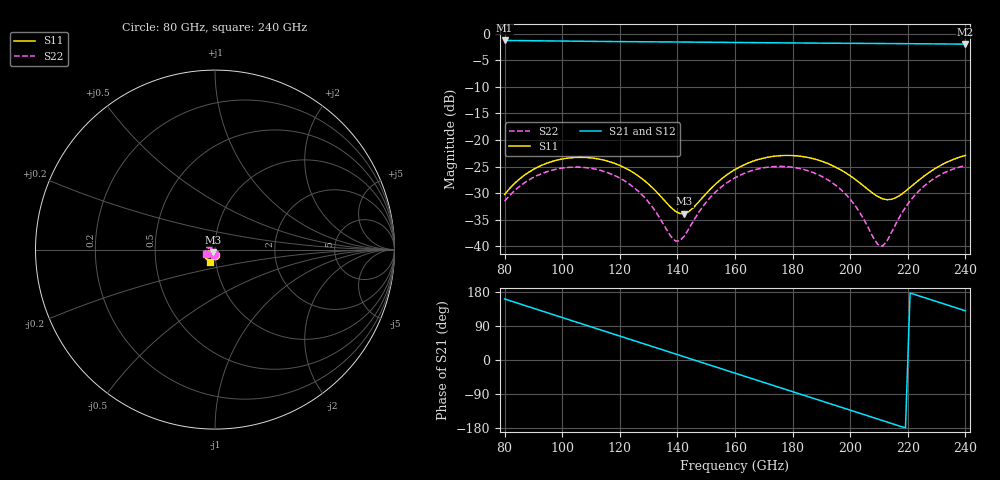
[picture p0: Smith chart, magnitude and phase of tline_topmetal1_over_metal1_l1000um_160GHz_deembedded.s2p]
! Created with skrf 2.0.1 (http://scikit-rf.org).
# GHz S DB R 50.0
!freq dBS11 angS11 dBS21 angS21 dBS12 angS12 dBS22 angS22
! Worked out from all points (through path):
!   101 points, 80 GHz to 240 GHz, reference 50 ohm
!   highest |S21| = -1.25 dB at 80 GHz (marker M1); lowest = -1.9 dB at 240 GHz (marker M2)
!   group delay of S21, straight-line fit = 6.79 ps
!   lowest |S11| = -33.9 dB at 142.4 GHz (marker M3), VSWR 1.04, Z = 48.7 - j1.53 ohm
!   |S11| at or under -10 dB: start of sweep to end of sweep
!   |S22| runs from -40.0 to -24.8 dB; largest |S21 - S12| = 9.2e-14
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80  -30.25 -89.5  -1.25 161.1  -1.25 161.1  -31.51 -104.5
86.4  -26.81 -96.0  -1.29 145.4  -1.29 145.4  -28.24 -113.2
94.4  -24.42 -110.0  -1.33 125.8  -1.33 125.8  -26.01 -129.6
107.2  -23.26 -134.8  -1.40 94.5  -1.40 94.5  -25.15 -158.4
115.2  -23.89 -149.5  -1.44 74.9  -1.44 74.9  -26.03 -175.9
123.2  -25.65 -161.8  -1.48 55.4  -1.48 55.4  -28.24 168.7
129.6  -28.12 -167.2  -1.51 39.7  -1.51 39.7  -31.43 160.9
134.4  -30.72 -164.4  -1.52 28.0  -1.52 28.0  -35.15 164.1
139.2  -33.38 -148.3  -1.54 16.2  -1.54 16.2  -38.99 -167.0
142.4  -33.87 -129.2  -1.55 8.4  -1.55 8.4  -38.08 -136.9
150.4  -29.84 -100.6  -1.59 -11.2  -1.59 -11.2  -31.42 -118.2
160  -25.55 -103.8  -1.63 -34.7  -1.63 -34.7  -27.10 -131.3
174.4  -23.00 -124.8  -1.70 -69.9  -1.70 -69.9  -24.98 -160.9
187.2  -23.52 -144.7  -1.75 -101.1  -1.75 -101.1  -26.13 172.0
193.6  -24.75 -152.6  -1.77 -116.7  -1.77 -116.7  -27.97 159.9
200  -26.74 -156.5  -1.79 -132.4  -1.79 -132.4  -31.15 151.4
209.6  -30.65 -142.8  -1.82 -155.8  -1.82 -155.8  -39.70 -178.5
211.2  -31.06 -136.7  -1.83 -159.7  -1.83 -159.7  -39.98 -159.5
214.4  -31.16 -123.0  -1.84 -167.6  -1.84 -167.6  -37.33 -131.0
219.2  -29.63 -106.6  -1.86 -179.3  -1.86 -179.3  -32.65 -120.7
225.6  -26.81 -99.6  -1.88 165.0  -1.88 165.0  -28.69 -126.4
240  -22.89 -111.3  -1.94 129.9  -1.94 129.9  -24.81 -154.4
